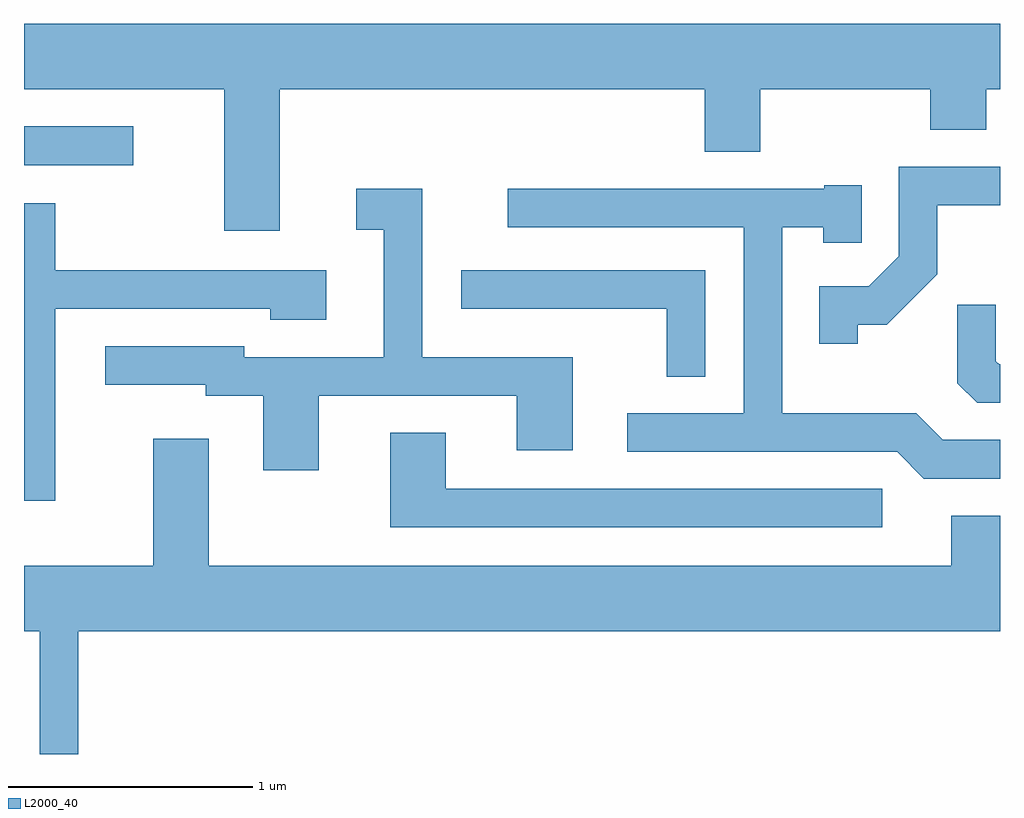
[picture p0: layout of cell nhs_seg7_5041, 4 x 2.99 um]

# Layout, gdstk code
import gdstk
lib = gdstk.Library(unit=1e-6, precision=1e-09)
def R(c, l, rs):  # rectangles x0, y0, x1, y1
    for r in rs: c.add(gdstk.rectangle(r[:2], r[2:], *l))
def P(c, l, *ps):  # polygons
    for p in ps: c.add(gdstk.Polygon(p, *l))
L2000_40 = (2000, 40)

nhs_seg7_5041 = lib.new_cell('nhs_seg7_5041')
R(nhs_seg7_5041, L2000_40, [(339.611,1720.666,340.058,1720.824)])
P(nhs_seg7_5041, L2000_40, [(340.659,1720.976),(342.401,1720.976),(342.401,1720.721),(342.629,1720.721),(342.629,1720.976),(343.326,1720.976),(343.326,1720.811),(343.554,1720.811),(343.554,1720.976),(343.611,1720.976),(343.611,1721.244),(339.611,1721.244),(339.611,1720.976),(340.431,1720.976),(340.431,1720.396),(340.659,1720.396)],
  [(343.029,1720.011),(343.147,1720.011),(343.354,1720.219),(343.354,1720.501),(343.611,1720.501),(343.611,1720.659),(343.196,1720.659),(343.196,1720.292),(343.074,1720.169),(342.871,1720.169),(342.871,1719.933),(343.029,1719.933)],
  [(343.611,1719.539),(343.377,1719.539),(343.267,1719.649),(342.719,1719.649),(342.719,1720.411),(342.886,1720.411),(342.886,1720.348),(343.044,1720.348),(343.044,1720.584),(342.89,1720.584),(342.89,1720.569),(341.593,1720.569),(341.593,1720.411),(342.561,1720.411),(342.561,1719.649),(342.083,1719.649),(342.083,1719.491),(343.189,1719.491),(343.299,1719.381),(343.611,1719.381)],
  [(340.819,1719.721),(341.631,1719.721),(341.631,1719.496),(341.859,1719.496),(341.859,1719.879),(341.244,1719.879),(341.244,1720.569),(340.973,1720.569),(340.973,1720.401),(341.086,1720.401),(341.086,1719.879),(340.514,1719.879),(340.514,1719.924),(339.943,1719.924),(339.943,1719.766),(340.356,1719.766),(340.356,1719.721),(340.591,1719.721),(340.591,1719.416),(340.819,1719.416)],
  [(339.739,1720.076),(340.621,1720.076),(340.621,1720.031),(340.849,1720.031),(340.849,1720.234),(339.739,1720.234),(339.739,1720.509),(339.611,1720.509),(339.611,1719.291),(339.739,1719.291)],
  [(342.404,1720.234),(341.403,1720.234),(341.403,1720.076),(342.246,1720.076),(342.246,1719.798),(342.404,1719.798)],
  [(343.611,1719.849),(343.607,1719.849),(343.594,1719.862),(343.594,1720.093),(343.436,1720.093),(343.436,1719.772),(343.517,1719.691),(343.611,1719.691)],
  [(343.128,1719.339),(341.339,1719.339),(341.339,1719.569),(341.111,1719.569),(341.111,1719.181),(343.128,1719.181)],
  [(339.834,1718.756),(343.611,1718.756),(343.611,1719.229),(343.411,1719.229),(343.411,1719.024),(340.369,1719.024),(340.369,1719.544),(340.141,1719.544),(340.141,1719.024),(339.611,1719.024),(339.611,1718.756),(339.676,1718.756),(339.676,1718.252),(339.834,1718.252)])

lib.write_gds('nhs_seg7_5041.gds')
